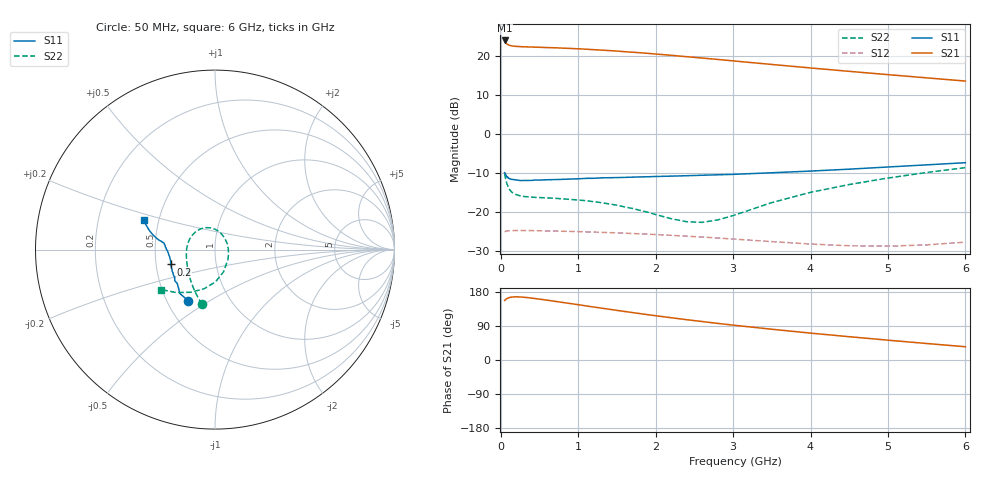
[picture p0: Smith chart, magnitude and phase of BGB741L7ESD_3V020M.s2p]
!  Infineon Technologies AG
!  BGB741L7ESD
!  Vce = 3.0V, Ic = 20.0mA
!  DATUM: 30.06.2009 10:00:22
# GHz  S  MA  R  50
!f  S11  S21  S12  S22
!GHz  Mag  Ang  Mag  Ang  Mag  Ang  Mag  Ang
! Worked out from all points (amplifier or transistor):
!   44 points, 50 MHz to 6 GHz, reference 50 ohm
!   highest |S21| = 24.0 dB at 50 MHz (marker M1)
!   |S21| within 3 dB of that: start of sweep to 1.691 GHz
!   unconditionally stable (mu >= 1): 196.1 MHz to end of sweep
!   at 120 MHz: K = 0.97, MSG = 23.7 dB, |S12| = -24.7 dB
!   at 1 GHz: K = 1.04, MAG = 22.2 dB, |S12| = -24.9 dB
!   at 6 GHz: K = 1.76, MAG = 15.5 dB, |S12| = -27.6 dB
!   S11 on the Smith chart (normalised r, x): 50 MHz: 0.64, -0.40; 200 MHz: 0.60, -0.11; 6 GHz: 0.41, +0.17
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0.05  0.3213 -117.9  15.84 157.2  0.05605 16.6  0.3139 -103.5
0.06  0.3133 -128.8  15.08 158.8  0.05683 14.1  0.2769 -110.9
0.07  0.2961 -133.2  14.6 160.7  0.0576 11.9  0.2516 -117.6
0.08  0.2823 -138.4  14.28 162.1  0.05767 10.6  0.2326 -123.3
0.1  0.2723 -145.8  13.86 164.0  0.05806 8.2  0.2075 -132.9
0.14  0.2638 -155.3  13.5 166.0  0.05839 5.4  0.1826 -147.0
0.2  0.2597 -161.5  13.3 166.6  0.05848 3.4  0.1681 -160.8
0.25  0.255 -166.0  13.21 166.4  0.05849 2.2  0.1626 -169.0
0.35  0.2556 -170.2  13.09 164.6  0.0584 0.8  0.158 178.5
0.7  0.2623 -176.9  12.76 154.9  0.05756 -1.9  0.1513 150.2
1.1  0.2721 179.1  12.24 142.9  0.05621 -3.7  0.141 124.9
1.4  0.2772 176.8  11.75 133.9  0.05499 -4.6  0.1279 107.4
1.6  0.2798 174.9  11.37 128.0  0.05405 -5.2  0.1172 95.0
1.9  0.2849 173.3  10.83 119.5  0.05255 -5.7  0.1002 74.1
2.2  0.2904 172.2  10.23 111.6  0.05075 -6.0  0.08288 48.6
2.8  0.302 171.2  9.052 96.6  0.04689 -5.6  0.07984 -18.6
3.5  0.3208 170.0  7.804 81.2  0.04216 -2.4  0.1331 -69.1
4  0.3371 168.5  7.042 70.9  0.03925 2.0  0.1801 -89.2
4.5  0.3566 166.5  6.371 61.4  0.03734 8.3  0.2267 -105.6
5  0.3802 163.9  5.782 52.3  0.03686 16.1  0.2747 -120.0
5.5  0.4049 160.8  5.257 43.5  0.03828 24.1  0.3233 -132.3
6  0.4315 157.3  4.787 35.0  0.04153 30.8  0.3732 -143.4
